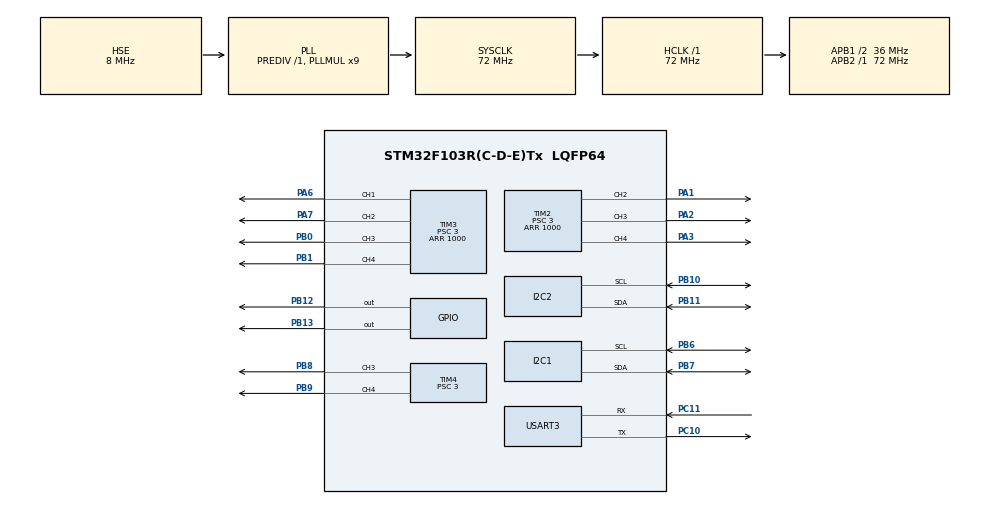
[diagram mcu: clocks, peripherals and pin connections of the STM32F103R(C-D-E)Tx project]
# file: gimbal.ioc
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Dma.Request0=USART3_TX
Dma.USART3_TX.0.Direction=DMA_MEMORY_TO_PERIPH
Dma.USART3_TX.0.Instance=DMA1_Channel2
Dma.USART3_TX.0.MemDataAlignment=DMA_MDATAALIGN_BYTE
Dma.USART3_TX.0.MemInc=DMA_MINC_ENABLE
Dma.USART3_TX.0.Mode=DMA_NORMAL
Dma.USART3_TX.0.PeriphDataAlignment=DMA_PDATAALIGN_BYTE
Dma.USART3_TX.0.PeriphInc=DMA_PINC_DISABLE
Dma.USART3_TX.0.Priority=DMA_PRIORITY_LOW
Mcu.Family=STM32F1
Mcu.Name=STM32F103R(C-D-E)Tx
Mcu.Package=LQFP64
NVIC.DMA1_Channel2_IRQn=true\:0\:0\:false\:false\:true
NVIC.PriorityGroup=NVIC_PRIORITYGROUP_4
NVIC.USART3_IRQn=true\:0\:0\:false\:false\:true
PA1.Signal=S_TIM2_CH2
PA2.Signal=S_TIM2_CH3
PA3.Signal=S_TIM2_CH4
PA6.Signal=S_TIM3_CH1
PA7.Signal=S_TIM3_CH2
PB0.Signal=S_TIM3_CH3
PB1.Signal=S_TIM3_CH4
PB10.Mode=I2C
PB10.Signal=I2C2_SCL
PB11.Mode=I2C
PB11.Signal=I2C2_SDA
PB12.Signal=GPIO_Output
PB13.Signal=GPIO_Output
PB6.Mode=I2C
PB6.Signal=I2C1_SCL
PB7.Mode=I2C
PB7.Signal=I2C1_SDA
PB8.Signal=S_TIM4_CH3
PB9.Signal=S_TIM4_CH4
PC10.Mode=Asynchronous
PC10.Signal=USART3_TX
PC11.Mode=Asynchronous
PC11.Signal=USART3_RX
PD0-OSC_IN.Mode=HSE-External-Oscillator
PD0-OSC_IN.Signal=RCC_OSC_IN
PD1-OSC_OUT.Mode=HSE-External-Oscillator
PD1-OSC_OUT.Signal=RCC_OSC_OUT
ProjectManager.HeapSize=0x200
ProjectManager.StackSize=0x400
ProjectManager.TargetToolchain=EWARM
RCC.AHBFreq_Value=72000000
RCC.APB1CLKDivider=RCC_HCLK_DIV2
RCC.APB1Freq_Value=36000000
RCC.APB1TimFreq_Value=72000000
RCC.APB2Freq_Value=72000000
RCC.APB2TimFreq_Value=72000000
RCC.HCLKFreq_Value=72000000
RCC.HSIState=RCC_HSI_ON
RCC.PLLMUL=RCC_PLL_MUL9
RCC.PLLSourceVirtual=RCC_PLLSOURCE_HSE
RCC.SYSCLKFreq_VALUE=72000000
RCC.SYSCLKSource=RCC_SYSCLKSOURCE_PLLCLK
RCC.USBFreq_Value=72000000
SH.S_TIM2_CH2.0=TIM2_CH2,PWM Generation2 CH2
SH.S_TIM2_CH3.0=TIM2_CH3,PWM Generation3 CH3
SH.S_TIM2_CH4.0=TIM2_CH4,PWM Generation4 CH4
SH.S_TIM3_CH1.0=TIM3_CH1,PWM Generation1 CH1
SH.S_TIM3_CH2.0=TIM3_CH2,PWM Generation2 CH2
SH.S_TIM3_CH3.0=TIM3_CH3,PWM Generation3 CH3
SH.S_TIM3_CH4.0=TIM3_CH4,PWM Generation4 CH4
SH.S_TIM4_CH3.0=TIM4_CH3,PWM Generation3 CH3
SH.S_TIM4_CH4.0=TIM4_CH4,PWM Generation4 CH4
TIM2.Channel-PWM\ Generation2\ CH2=TIM_CHANNEL_2
TIM2.Channel-PWM\ Generation3\ CH3=TIM_CHANNEL_3
TIM2.Channel-PWM\ Generation4\ CH4=TIM_CHANNEL_4
TIM2.CounterMode=TIM_COUNTERMODE_CENTERALIGNED1
TIM2.Period=1000
TIM2.Prescaler=3
TIM3.Channel-PWM\ Generation2\ CH2=TIM_CHANNEL_2
TIM3.Channel-PWM\ Generation3\ CH3=TIM_CHANNEL_3
TIM3.Channel-PWM\ Generation4\ CH4=TIM_CHANNEL_4
TIM3.CounterMode=TIM_COUNTERMODE_CENTERALIGNED1
TIM3.Period=1000
TIM3.Prescaler=3
TIM4.Channel-PWM\ Generation3\ CH3=TIM_CHANNEL_3
TIM4.Channel-PWM\ Generation4\ CH4=TIM_CHANNEL_4
TIM4.CounterMode=TIM_COUNTERMODE_CENTERALIGNED1
TIM4.Period=1000
TIM4.Prescaler=3
VP_SYS_VS_ND.Mode=No_Debug
VP_TIM2_VS_ClockSourceINT.Mode=Internal
VP_TIM3_VS_ClockSourceINT.Mode=Internal
VP_TIM4_VS_ClockSourceINT.Mode=Internal
board=gimbal

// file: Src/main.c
/**
  ******************************************************************************
  * File Name          : main.c
  * Description        : Main program body
  ******************************************************************************
  *
  * COPYRIGHT(c) 2016 STMicroelectronics
  *
  * Redistribution and use in source and binary forms, with or without modification,
  * are permitted provided that the following conditions are met:
  *   1. Redistributions of source code must retain the above copyright notice,
  *      this list of conditions and the following disclaimer.
  *   2. Redistributions in binary form must reproduce the above copyright notice,
  *      this list of conditions and the following disclaimer in the documentation
  *      and/or other materials provided with the distribution.
  *   3. Neither the name of STMicroelectronics nor the names of its contributors
  *      may be used to endorse or promote products derived from this software
  *      without specific prior written permission.
  *
  * THIS SOFTWARE IS PROVIDED BY THE COPYRIGHT HOLDERS AND CONTRIBUTORS "AS IS"
  * AND ANY EXPRESS OR IMPLIED WARRANTIES, INCLUDING, BUT NOT LIMITED TO, THE
  * IMPLIED WARRANTIES OF MERCHANTABILITY AND FITNESS FOR A PARTICULAR PURPOSE ARE
  * DISCLAIMED. IN NO EVENT SHALL THE COPYRIGHT HOLDER OR CONTRIBUTORS BE LIABLE
  * FOR ANY DIRECT, INDIRECT, INCIDENTAL, SPECIAL, EXEMPLARY, OR CONSEQUENTIAL
  * DAMAGES (INCLUDING, BUT NOT LIMITED TO, PROCUREMENT OF SUBSTITUTE GOODS OR
  * SERVICES; LOSS OF USE, DATA, OR PROFITS; OR BUSINESS INTERRUPTION) HOWEVER
  * CAUSED AND ON ANY THEORY OF LIABILITY, WHETHER IN CONTRACT, STRICT LIABILITY,
  * OR TORT (INCLUDING NEGLIGENCE OR OTHERWISE) ARISING IN ANY WAY OUT OF THE USE
  * OF THIS SOFTWARE, EVEN IF ADVISED OF THE POSSIBILITY OF SUCH DAMAGE.
  *
  ******************************************************************************
  */
#include "stm32f1xx_hal.h"

/* USER CODE BEGIN Includes */
#include "mpu6050.h"
#include "data.h"
#include "control.h"
#include "engine.h"
/* USER CODE END Includes */

I2C_HandleTypeDef hi2c1;
I2C_HandleTypeDef hi2c2;

TIM_HandleTypeDef htim2;
TIM_HandleTypeDef htim3;
TIM_HandleTypeDef htim4;

UART_HandleTypeDef huart3;
DMA_HandleTypeDef hdma_usart3_tx;

/* USER CODE BEGIN PV */
/* Private variables ---------------------------------------------------------*/
extern uint8_t b;
/* USER CODE END PV */

void SystemClock_Config(void);
void Error_Handler(void);
static void MX_GPIO_Init(void);
static void MX_DMA_Init(void);
static void MX_I2C1_Init(void);
static void MX_I2C2_Init(void);
static void MX_TIM2_Init(void);
static void MX_TIM3_Init(void);
static void MX_TIM4_Init(void);
static void MX_USART3_UART_Init(void);

void HAL_TIM_MspPostInit(TIM_HandleTypeDef *htim);

/* USER CODE BEGIN PFP */
/* Private function prototypes -----------------------------------------------*/

/* USER CODE END PFP */

/* USER CODE BEGIN 0 */
extern float  roll_setpoint;
/* USER CODE END 0 */

int main(void)
{

  /* USER CODE BEGIN 1 */
  static uint32_t passtick,newtick,p2;
  /* USER CODE END 1 */

  /* MCU Configuration----------------------------------------------------------*/

  /* Reset of all peripherals, Initializes the Flash interface and the Systick. */
  HAL_Init();

  /* Configure the system clock */
  SystemClock_Config();

  /* Initialize all configured peripherals */
  MX_GPIO_Init();
  MX_DMA_Init();
  MX_I2C1_Init();
  MX_I2C2_Init();
  MX_TIM2_Init();
  MX_TIM3_Init();
  MX_TIM4_Init();
  MX_USART3_UART_Init();

  /* USER CODE BEGIN 2 */
  while(MPU_Init())
  {
    SET_BIT(hi2c1.Instance->CR1, I2C_CR1_STOP);
    SET_BIT(hi2c2.Instance->CR1, I2C_CR1_STOP);
  }
  DataInit();
  MotorInit();
  InitSinArray();
  passtick=HAL_GetTick();
  p2=passtick;
  HAL_UART_Receive_IT(&huart3,&b,1);
  /* USER CODE END 2 */

  /* Infinite loop */
  /* USER CODE BEGIN WHILE */
  while (1)
  {
    if(((newtick=HAL_GetTick())-passtick)>=2)
    {
      passtick=newtick;
      UpdateData();
      //ControlUpdate();
      engineProcess();
    }
//    if(((newtick=HAL_GetTick())-p2)>2000)
//    {
//      static uint8_t a=0;
//      a++;
//      if(a<10)//9
//      {
//        roll_setpoint+=2/57.3;
//      }
//      else
//      {
//        roll_setpoint-=2/57.3;
//      }
//      if(a==18)
//        a=0;
//      p2=newtick;
//
//    }

  /* USER CODE END WHILE */

  }

}

/** System Clock Configuration
*/
void SystemClock_Config(void)
{

  RCC_OscInitTypeDef RCC_OscInitStruct;
  RCC_ClkInitTypeDef RCC_ClkInitStruct;

  RCC_OscInitStruct.OscillatorType = RCC_OSCILLATORTYPE_HSE;
  RCC_OscInitStruct.HSEState = RCC_HSE_ON;
  RCC_OscInitStruct.HSEPredivValue = RCC_HSE_PREDIV_DIV1;
  RCC_OscInitStruct.PLL.PLLState = RCC_PLL_ON;
  RCC_OscInitStruct.PLL.PLLSource = RCC_PLLSOURCE_HSE;
  RCC_OscInitStruct.PLL.PLLMUL = RCC_PLL_MUL9;
  if (HAL_RCC_OscConfig(&RCC_OscInitStruct) != HAL_OK)
  {
    Error_Handler();
  }

  RCC_ClkInitStruct.ClockType = RCC_CLOCKTYPE_HCLK|RCC_CLOCKTYPE_SYSCLK
                              |RCC_CLOCKTYPE_PCLK1|RCC_CLOCKTYPE_PCLK2;
  RCC_ClkInitStruct.SYSCLKSource = RCC_SYSCLKSOURCE_PLLCLK;
  RCC_ClkInitStruct.AHBCLKDivider = RCC_SYSCLK_DIV1;
  RCC_ClkInitStruct.APB1CLKDivider = RCC_HCLK_DIV2;
  RCC_ClkInitStruct.APB2CLKDivider = RCC_HCLK_DIV1;
  if (HAL_RCC_ClockConfig(&RCC_ClkInitStruct, FLASH_LATENCY_2) != HAL_OK)
  {
    Error_Handler();
  }

  HAL_SYSTICK_Config(HAL_RCC_GetHCLKFreq()/1000);

  HAL_SYSTICK_CLKSourceConfig(SYSTICK_CLKSOURCE_HCLK);

  /* SysTick_IRQn interrupt configuration */
  HAL_NVIC_SetPriority(SysTick_IRQn, 0, 0);
}

/* I2C1 init function */
static void MX_I2C1_Init(void)
{

  hi2c1.Instance = I2C1;
  hi2c1.Init.ClockSpeed = 100000;
  hi2c1.Init.DutyCycle = I2C_DUTYCYCLE_2;
  hi2c1.Init.OwnAddress1 = 0;
  hi2c1.Init.AddressingMode = I2C_ADDRESSINGMODE_7BIT;
  hi2c1.Init.DualAddressMode = I2C_DUALADDRESS_DISABLE;
  hi2c1.Init.OwnAddress2 = 0;
  hi2c1.Init.GeneralCallMode = I2C_GENERALCALL_DISABLE;
  hi2c1.Init.NoStretchMode = I2C_NOSTRETCH_DISABLE;
  if (HAL_I2C_Init(&hi2c1) != HAL_OK)
  {
    Error_Handler();
  }

}

/* I2C2 init function */
static void MX_I2C2_Init(void)
{

  hi2c2.Instance = I2C2;
  hi2c2.Init.ClockSpeed = 100000;
  hi2c2.Init.DutyCycle = I2C_DUTYCYCLE_2;
  hi2c2.Init.OwnAddress1 = 0;
  hi2c2.Init.AddressingMode = I2C_ADDRESSINGMODE_7BIT;
  hi2c2.Init.DualAddressMode = I2C_DUALADDRESS_DISABLE;
  hi2c2.Init.OwnAddress2 = 0;
  hi2c2.Init.GeneralCallMode = I2C_GENERALCALL_DISABLE;
  hi2c2.Init.NoStretchMode = I2C_NOSTRETCH_DISABLE;
  if (HAL_I2C_Init(&hi2c2) != HAL_OK)
  {
    Error_Handler();
  }

}

/* TIM2 init function */
static void MX_TIM2_Init(void)
{

  TIM_ClockConfigTypeDef sClockSourceConfig;
  TIM_MasterConfigTypeDef sMasterConfig;
  TIM_OC_InitTypeDef sConfigOC;

  htim2.Instance = TIM2;
  htim2.Init.Prescaler = 2;
  htim2.Init.CounterMode = TIM_COUNTERMODE_CENTERALIGNED1;
  htim2.Init.Period = 500;
  htim2.Init.ClockDivision = TIM_CLOCKDIVISION_DIV1;
  if (HAL_TIM_Base_Init(&htim2) != HAL_OK)
  {
    Error_Handler();
  }

  sClockSourceConfig.ClockSource = TIM_CLOCKSOURCE_INTERNAL;
  if (HAL_TIM_ConfigClockSource(&htim2, &sClockSourceConfig) != HAL_OK)
  {
    Error_Handler();
  }

  if (HAL_TIM_PWM_Init(&htim2) != HAL_OK)
  {
    Error_Handler();
  }

  sMasterConfig.MasterOutputTrigger = TIM_TRGO_RESET;
  sMasterConfig.MasterSlaveMode = TIM_MASTERSLAVEMODE_DISABLE;
  if (HAL_TIMEx_MasterConfigSynchronization(&htim2, &sMasterConfig) != HAL_OK)
  {
    Error_Handler();
  }

  sConfigOC.OCMode = TIM_OCMODE_PWM1;
  sConfigOC.Pulse = 0;
  sConfigOC.OCPolarity = TIM_OCPOLARITY_HIGH;
  sConfigOC.OCFastMode = TIM_OCFAST_DISABLE;
  if (HAL_TIM_PWM_ConfigChannel(&htim2, &sConfigOC, TIM_CHANNEL_2) != HAL_OK)
  {
    Error_Handler();
  }

  if (HAL_TIM_PWM_ConfigChannel(&htim2, &sConfigOC, TIM_CHANNEL_3) != HAL_OK)
  {
    Error_Handler();
  }

  if (HAL_TIM_PWM_ConfigChannel(&htim2, &sConfigOC, TIM_CHANNEL_4) != HAL_OK)
  {
    Error_Handler();
  }

  HAL_TIM_MspPostInit(&htim2);

}

/* TIM3 init function */
static void MX_TIM3_Init(void)
{

  TIM_ClockConfigTypeDef sClockSourceConfig;
  TIM_MasterConfigTypeDef sMasterConfig;
  TIM_OC_InitTypeDef sConfigOC;

  htim3.Instance = TIM3;
  htim3.Init.Prescaler = 2;
  htim3.Init.CounterMode = TIM_COUNTERMODE_CENTERALIGNED1;
  htim3.Init.Period = 500;
  htim3.Init.ClockDivision = TIM_CLOCKDIVISION_DIV1;
  if (HAL_TIM_Base_Init(&htim3) != HAL_OK)
  {
    Error_Handler();
  }

  sClockSourceConfig.ClockSource = TIM_CLOCKSOURCE_INTERNAL;
  if (HAL_TIM_ConfigClockSource(&htim3, &sClockSourceConfig) != HAL_OK)
  {
    Error_Handler();
  }

  if (HAL_TIM_PWM_Init(&htim3) != HAL_OK)
  {
    Error_Handler();
  }

  sMasterConfig.MasterOutputTrigger = TIM_TRGO_RESET;
  sMasterConfig.MasterSlaveMode = TIM_MASTERSLAVEMODE_DISABLE;
  if (HAL_TIMEx_MasterConfigSynchronization(&htim3, &sMasterConfig) != HAL_OK)
  {
    Error_Handler();
  }

  sConfigOC.OCMode = TIM_OCMODE_PWM1;
  sConfigOC.Pulse = 0;
  sConfigOC.OCPolarity = TIM_OCPOLARITY_HIGH;
  sConfigOC.OCFastMode = TIM_OCFAST_DISABLE;
  if (HAL_TIM_PWM_ConfigChannel(&htim3, &sConfigOC, TIM_CHANNEL_1) != HAL_OK)
  {
    Error_Handler();
  }

  if (HAL_TIM_PWM_ConfigChannel(&htim3, &sConfigOC, TIM_CHANNEL_2) != HAL_OK)
  {
    Error_Handler();
  }

  if (HAL_TIM_PWM_ConfigChannel(&htim3, &sConfigOC, TIM_CHANNEL_3) != HAL_OK)
  {
    Error_Handler();
  }

  if (HAL_TIM_PWM_ConfigChannel(&htim3, &sConfigOC, TIM_CHANNEL_4) != HAL_OK)
  {
    Error_Handler();
  }

  HAL_TIM_MspPostInit(&htim3);

}

/* TIM4 init function */
static void MX_TIM4_Init(void)
{

  TIM_ClockConfigTypeDef sClockSourceConfig;
  TIM_MasterConfigTypeDef sMasterConfig;
  TIM_OC_InitTypeDef sConfigOC;

  htim4.Instance = TIM4;
  htim4.Init.Prescaler = 2;
  htim4.Init.CounterMode = TIM_COUNTERMODE_CENTERALIGNED1;
  htim4.Init.Period = 500;
  htim4.Init.ClockDivision = TIM_CLOCKDIVISION_DIV1;
  if (HAL_TIM_Base_Init(&htim4) != HAL_OK)
  {
    Error_Handler();
  }

  sClockSourceConfig.ClockSource = TIM_CLOCKSOURCE_INTERNAL;
  if (HAL_TIM_ConfigClockSource(&htim4, &sClockSourceConfig) != HAL_OK)
  {
    Error_Handler();
  }

  if (HAL_TIM_PWM_Init(&htim4) != HAL_OK)
  {
    Error_Handler();
  }

  sMasterConfig.MasterOutputTrigger = TIM_TRGO_RESET;
  sMasterConfig.MasterSlaveMode = TIM_MASTERSLAVEMODE_DISABLE;
  if (HAL_TIMEx_MasterConfigSynchronization(&htim4, &sMasterConfig) != HAL_OK)
  {
    Error_Handler();
  }

  sConfigOC.OCMode = TIM_OCMODE_PWM1;
  sConfigOC.Pulse = 0;
  sConfigOC.OCPolarity = TIM_OCPOLARITY_HIGH;
  sConfigOC.OCFastMode = TIM_OCFAST_DISABLE;
  if (HAL_TIM_PWM_ConfigChannel(&htim4, &sConfigOC, TIM_CHANNEL_3) != HAL_OK)
  {
    Error_Handler();
  }

  if (HAL_TIM_PWM_ConfigChannel(&htim4, &sConfigOC, TIM_CHANNEL_4) != HAL_OK)
  {
    Error_Handler();
  }

  HAL_TIM_MspPostInit(&htim4);

}

/* USART3 init function */
static void MX_USART3_UART_Init(void)
{

  huart3.Instance = USART3;
  huart3.Init.BaudRate = 500000;
  huart3.Init.WordLength = UART_WORDLENGTH_8B;
  huart3.Init.StopBits = UART_STOPBITS_1;
  huart3.Init.Parity = UART_PARITY_NONE;
  huart3.Init.Mode = UART_MODE_TX_RX;
  huart3.Init.HwFlowCtl = UART_HWCONTROL_NONE;
  huart3.Init.OverSampling = UART_OVERSAMPLING_16;
  if (HAL_UART_Init(&huart3) != HAL_OK)
  {
    Error_Handler();
  }

}

static void MX_DMA_Init(void)
{
  /* DMA controller clock enable */
  __HAL_RCC_DMA1_CLK_ENABLE();

  /* DMA interrupt init */
  /* DMA1_Channel2_IRQn interrupt configuration */
  HAL_NVIC_SetPriority(DMA1_Channel2_IRQn, 0, 0);
  HAL_NVIC_EnableIRQ(DMA1_Channel2_IRQn);

}

/** Configure pins as
        * Analog
        * Input
        * Output
        * EVENT_OUT
        * EXTI
*/
static void MX_GPIO_Init(void)
{

  GPIO_InitTypeDef GPIO_InitStruct;

  /* GPIO Ports Clock Enable */
  __HAL_RCC_GPIOD_CLK_ENABLE();
  __HAL_RCC_GPIOA_CLK_ENABLE();
  __HAL_RCC_GPIOB_CLK_ENABLE();
  __HAL_RCC_GPIOC_CLK_ENABLE();

  /*Configure GPIO pin Output Level */
  HAL_GPIO_WritePin(GPIOB, GPIO_PIN_12|GPIO_PIN_13, GPIO_PIN_RESET);

  /*Configure GPIO pins : PB12 PB13 */
  GPIO_InitStruct.Pin = GPIO_PIN_12|GPIO_PIN_13;
  GPIO_InitStruct.Mode = GPIO_MODE_OUTPUT_PP;
  GPIO_InitStruct.Speed = GPIO_SPEED_FREQ_LOW;
  HAL_GPIO_Init(GPIOB, &GPIO_InitStruct);

}

void Error_Handler(void)
{
  while(1)
  {
  }
}

/************************ (C) COPYRIGHT STMicroelectronics *****END OF FILE****/
